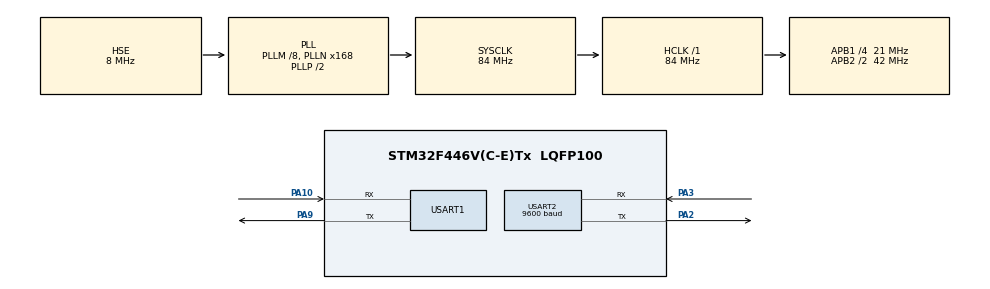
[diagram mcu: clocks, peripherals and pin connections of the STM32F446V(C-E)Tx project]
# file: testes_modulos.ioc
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Mcu.Family=STM32F4
Mcu.Name=STM32F446V(C-E)Tx
Mcu.Package=LQFP100
NVIC.PriorityGroup=NVIC_PRIORITYGROUP_4
PA10.Mode=Asynchronous
PA10.Signal=USART1_RX
PA2.Mode=Asynchronous
PA2.Signal=USART2_TX
PA3.Mode=Asynchronous
PA3.Signal=USART2_RX
PA9.Mode=Asynchronous
PA9.Signal=USART1_TX
PH0-OSC_IN.Mode=HSE-External-Oscillator
PH0-OSC_IN.Signal=RCC_OSC_IN
PH1-OSC_OUT.Mode=HSE-External-Oscillator
PH1-OSC_OUT.Signal=RCC_OSC_OUT
ProjectManager.HeapSize=0x200
ProjectManager.StackSize=0x400
ProjectManager.TargetToolchain=STM32CubeIDE
RCC.AHBFreq_Value=84000000
RCC.APB1CLKDivider=RCC_HCLK_DIV4
RCC.APB1Freq_Value=21000000
RCC.APB1TimFreq_Value=42000000
RCC.APB2CLKDivider=RCC_HCLK_DIV2
RCC.APB2Freq_Value=42000000
RCC.APB2TimFreq_Value=84000000
RCC.CortexFreq_Value=84000000
RCC.HCLKFreq_Value=84000000
RCC.HSE_VALUE=8000000
RCC.PLLM=8
RCC.PLLN=168
RCC.PLLSourceVirtual=RCC_PLLSOURCE_HSE
RCC.SYSCLKFreq_VALUE=84000000
RCC.SYSCLKSource=RCC_SYSCLKSOURCE_PLLCLK
RCC.USBFreq_Value=84000000
RCC.VCOOutputFreq_Value=168000000
USART1.VirtualMode=VM_ASYNC
USART2.BaudRate=9600
USART2.VirtualMode=VM_ASYNC
board=custom

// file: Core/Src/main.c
/* USER CODE BEGIN Header */
/**
  ******************************************************************************
  * @file           : main.c
  * @brief          : Main program body
  ******************************************************************************
  * @attention
  *
  * Copyright (c) 2026 STMicroelectronics.
  * All rights reserved.
  *
  * This software is licensed under terms that can be found in the LICENSE file
  * in the root directory of this software component.
  * If no LICENSE file comes with this software, it is provided AS-IS.
  *
  ******************************************************************************
  */
/* USER CODE END Header */
#include "main.h"
#include "usart.h"
#include "gpio.h"
#include <stdint.h>
#include <stdio.h>

/* USER CODE BEGIN Includes */
extern UART_HandleTypeDef huart2;
extern UART_HandleTypeDef huart1;
/* ---------- Configuração ---------- */
#define SENSOR_ADDR         0x01
#define REG_CORRENTE        0x000E            /* valor medido (somente leitura) */

#define REQ_LEN             8
#define RESP_LEN            7                 /* 01 03 02 HH LL CRC_L CRC_H */
#define RESP_TIMEOUT_MS     500

/* USER CODE END Includes */

/* USER CODE BEGIN PV */
uint16_t raw;
/* USER CODE END PV */

void SystemClock_Config(void);

/* USER CODE BEGIN 0 */

/* Requisição pronta, direto da documentação:
 * 01 03 00 0E 00 01 E5 C9
 * (CRC enviado com o byte BAIXO primeiro: E5, depois C9) */
static const uint8_t req_corrente[REQ_LEN] =
    { 0x01, 0x03, 0x00, 0x0E, 0x00, 0x01, 0xE5, 0xC9 };

/* ---------- CRC-16 Modbus (polinômio 0xA001) ---------- */
static uint16_t modbus_crc16(const uint8_t *data, uint16_t len)
{
    uint16_t crc = 0xFFFF;
    for (uint16_t i = 0; i < len; i++) {
        crc ^= data[i];
        for (uint8_t b = 0; b < 8; b++) {
            crc = (crc & 1) ? (crc >> 1) ^ 0xA001 : crc >> 1;
        }
    }
    return crc;
}

/* ---------- Leitura do sensor ----------
 * Retorna HAL_OK e preenche *valor_bruto (registrador 0x000E) em caso de sucesso.
 * A conversão para Ampères depende do fator de escala descrito no manual. */
HAL_StatusTypeDef sensor_corrente_ler(uint16_t *valor_bruto)
{
    uint8_t resp[RESP_LEN] = {0};
    HAL_StatusTypeDef st;

    /* Descarta lixo que esteja no registrador de recepção */
    __HAL_UART_FLUSH_DRREGISTER(&huart2);

    /* 1) Envia a requisição */
    st = HAL_UART_Transmit(&huart2, (uint8_t *)req_corrente, REQ_LEN, 100);
    if (st != HAL_OK) return st;

    /* 2) Recebe a resposta de 7 bytes */
    st = HAL_UART_Receive(&huart2, resp, RESP_LEN, RESP_TIMEOUT_MS);
    if (st != HAL_OK) return st;

    /* 3) Valida endereço, função e quantidade de bytes */
    if (resp[0] != SENSOR_ADDR || resp[1] != 0x03 || resp[2] != 0x02)
        return HAL_ERROR;

    /* 4) Valida CRC (na resposta vem: byte baixo, depois byte alto) */
    uint16_t crc_calc = modbus_crc16(resp, 5);
    uint16_t crc_recv = (uint16_t)resp[5] | ((uint16_t)resp[6] << 8);
    if (crc_calc != crc_recv)
        return HAL_ERROR;

    /* 5) Valor medido: byte alto + byte baixo (ex.: 05 DC -> 0x05DC = 1500) */
    *valor_bruto = ((uint16_t)resp[3] << 8) | resp[4];
    return HAL_OK;
}
int _write(int file, char *ptr, int len)
{
    HAL_UART_Transmit(&huart1, (uint8_t *)ptr, len, HAL_MAX_DELAY);
    return len;
}

/* USER CODE END 0 */

int main(void)
{

  /* MCU Configuration--------------------------------------------------------*/

  /* Reset of all peripherals, Initializes the Flash interface and the Systick. */
  HAL_Init();

  /* Configure the system clock */
  SystemClock_Config();

  /* Initialize all configured peripherals */
  MX_GPIO_Init();
  MX_USART1_UART_Init();
  MX_USART2_UART_Init();
  /* USER CODE BEGIN 2 */
  //USART2TX = PA2
  //USART2RX = PA3
  /* USER CODE END 2 */

  /* Infinite loop */
  /* USER CODE BEGIN WHILE */
  while (1)
  {
      uint16_t raw;
      if (sensor_corrente_ler(&raw) == HAL_OK) {
          printf("Corrente (bruto): %u\r\n", raw);
      } else {
          printf("Falha na leitura do sensor\r\n");
      }
      HAL_Delay(1000);

    /* USER CODE END WHILE */

  }
}

void SystemClock_Config(void)
{
  RCC_OscInitTypeDef RCC_OscInitStruct = {0};
  RCC_ClkInitTypeDef RCC_ClkInitStruct = {0};

  /** Configure the main internal regulator output voltage
  */
  __HAL_RCC_PWR_CLK_ENABLE();
  __HAL_PWR_VOLTAGESCALING_CONFIG(PWR_REGULATOR_VOLTAGE_SCALE3);

  /** Initializes the RCC Oscillators according to the specified parameters
  * in the RCC_OscInitTypeDef structure.
  */
  RCC_OscInitStruct.OscillatorType = RCC_OSCILLATORTYPE_HSE;
  RCC_OscInitStruct.HSEState = RCC_HSE_ON;
  RCC_OscInitStruct.PLL.PLLState = RCC_PLL_ON;
  RCC_OscInitStruct.PLL.PLLSource = RCC_PLLSOURCE_HSE;
  RCC_OscInitStruct.PLL.PLLM = 8;
  RCC_OscInitStruct.PLL.PLLN = 168;
  RCC_OscInitStruct.PLL.PLLP = RCC_PLLP_DIV2;
  RCC_OscInitStruct.PLL.PLLQ = 2;
  RCC_OscInitStruct.PLL.PLLR = 2;
  if (HAL_RCC_OscConfig(&RCC_OscInitStruct) != HAL_OK)
  {
    Error_Handler();
  }

  /** Initializes the CPU, AHB and APB buses clocks
  */
  RCC_ClkInitStruct.ClockType = RCC_CLOCKTYPE_HCLK|RCC_CLOCKTYPE_SYSCLK
                              |RCC_CLOCKTYPE_PCLK1|RCC_CLOCKTYPE_PCLK2;
  RCC_ClkInitStruct.SYSCLKSource = RCC_SYSCLKSOURCE_PLLCLK;
  RCC_ClkInitStruct.AHBCLKDivider = RCC_SYSCLK_DIV1;
  RCC_ClkInitStruct.APB1CLKDivider = RCC_HCLK_DIV4;
  RCC_ClkInitStruct.APB2CLKDivider = RCC_HCLK_DIV2;

  if (HAL_RCC_ClockConfig(&RCC_ClkInitStruct, FLASH_LATENCY_2) != HAL_OK)
  {
    Error_Handler();
  }
}

void Error_Handler(void)
{
  __disable_irq();
  while (1)
  {
  }
}
